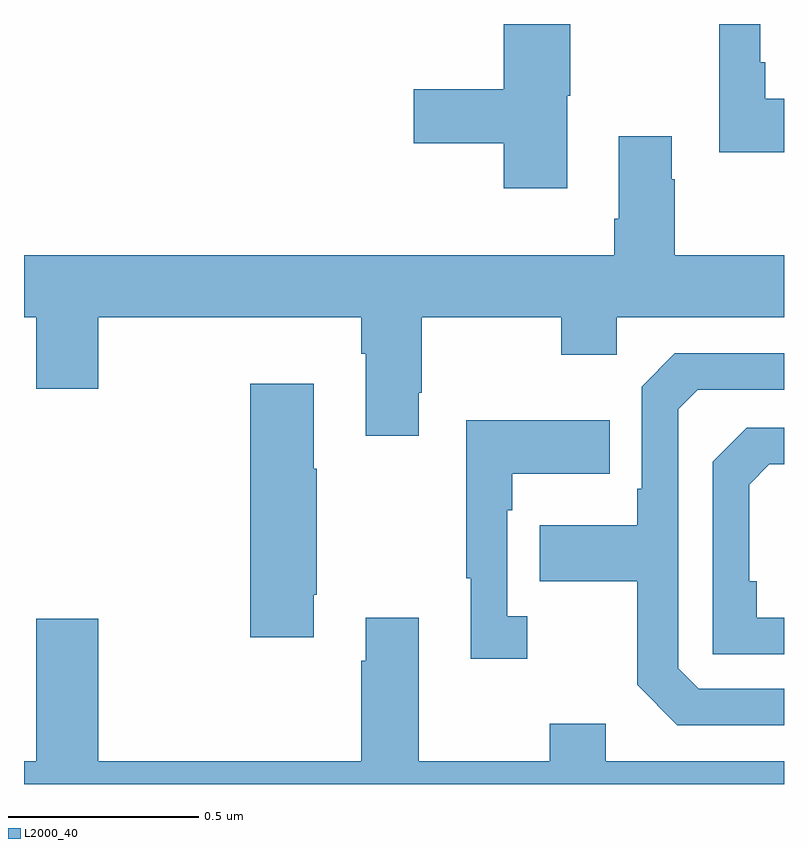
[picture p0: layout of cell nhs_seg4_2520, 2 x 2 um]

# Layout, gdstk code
import gdstk
lib = gdstk.Library(unit=1e-6, precision=1e-09)
def P(c, l, *ps):  # polygons
    for p in ps: c.add(gdstk.Polygon(p, *l))
L2000_40 = (2000, 40)

nhs_seg4_2520 = lib.new_cell('nhs_seg4_2520')
P(nhs_seg4_2520, L2000_40, [(142.429,822.711),(142.437,822.711),(142.437,822.9),(142.262,822.9),(142.262,822.728),(142.026,822.728),(142.026,822.586),(142.262,822.586),(142.262,822.468),(142.429,822.468)],
  [(143,822.703),(142.951,822.703),(142.951,822.799),(142.938,822.799),(142.938,822.9),(142.83,822.9),(142.83,822.563),(143,822.563)],
  [(142.039,821.929),(142.047,821.929),(142.047,822.128),(142.414,822.128),(142.414,822.029),(142.56,822.029),(142.56,822.128),(143,822.128),(143,822.292),(142.713,822.292),(142.713,822.491),(142.705,822.491),(142.705,822.604),(142.565,822.604),(142.565,822.388),(142.553,822.388),(142.553,822.292),(141,822.292),(141,822.128),(141.032,822.128),(141.032,821.94),(141.196,821.94),(141.196,822.128),(141.887,822.128),(141.887,822.032),(141.899,822.032),(141.899,821.817),(142.039,821.817)],
  [(143,821.151),(142.776,821.151),(142.722,821.205),(142.722,821.886),(142.773,821.937),(143,821.937),(143,822.033),(142.713,822.033),(142.626,821.946),(142.626,821.677),(142.614,821.677),(142.614,821.581),(142.357,821.581),(142.357,821.434),(142.614,821.434),(142.614,821.161),(142.719,821.055),(143,821.055)],
  [(141.763,821.398),(141.771,821.398),(141.771,821.729),(141.763,821.729),(141.763,821.953),(141.596,821.953),(141.596,821.286),(141.763,821.286)],
  [(142.324,821.342),(142.272,821.342),(142.272,821.621),(142.285,821.621),(142.285,821.717),(142.541,821.717),(142.541,821.857),(142.164,821.857),(142.164,821.441),(142.175,821.441),(142.175,821.229),(142.324,821.229)],
  [(143,821.337),(142.928,821.337),(142.928,821.434),(142.908,821.434),(142.908,821.688),(142.961,821.741),(143,821.741),(143,821.838),(142.902,821.838),(142.812,821.748),(142.812,821.241),(143,821.241)],
  [(143,820.96),(142.531,820.96),(142.531,821.059),(142.384,821.059),(142.384,820.96),(142.039,820.96),(142.039,821.338),(141.899,821.338),(141.899,821.225),(141.887,821.225),(141.887,820.96),(141.196,820.96),(141.196,821.335),(141.032,821.335),(141.032,820.96),(141,820.96),(141,820.9),(143,820.9)])

lib.write_gds('nhs_seg4_2520.gds')
